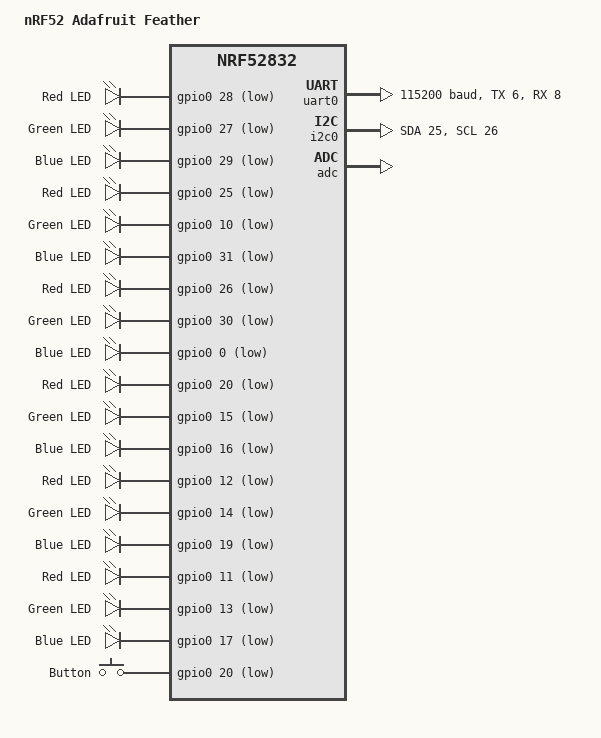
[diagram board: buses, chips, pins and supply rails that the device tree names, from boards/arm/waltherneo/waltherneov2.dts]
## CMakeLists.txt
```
# SPDX-License-Identifier: Apache-2.0

cmake_minimum_required(VERSION 3.13.1)

#find_package(Zephyr REQUIRED HINTS $ENV{ZEPHYR_BASE})

# Re-direct the directory where the 'boards' directory is found from
# $ZEPHYR_BASE to this directory.
set(BOARD_ROOT ${CMAKE_CURRENT_LIST_DIR})

# This sample is only compatible with walterneo because it has
# re-directed the 'boards' directory to a directory that only contains
# this board.
set(BOARD walterneo)

include($ENV{ZEPHYR_BASE}/cmake/app/boilerplate.cmake NO_POLICY_SCOPE)

project(mesh_demo)

FILE(GLOB app_sources src/*.c)
target_sources(app PRIVATE ${app_sources})
FILE(GLOB mesh_sources src/mesh/*.c)
target_sources(app PRIVATE ${mesh_sources})
FILE(GLOB misc_sources src/misc/*.c)
target_sources(app PRIVATE ${misc_sources})
FILE(GLOB sensor_sources src/sensor/*.c)
target_sources(app PRIVATE ${sensor_sources})

if(NODE_ADDR)
  zephyr_compile_definitions(NODE_ADDR=${NODE_ADDR})
endif()
```

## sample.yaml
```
sample:
  name: WaltherNeo Mesh
tests:
  sample.bluetooth.mesh_demo:
    harness: bluetooth
    platform_whitelist: bbc_microbit nrf51_blenano qemu_x86
    tags: bluetooth
```

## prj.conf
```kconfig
#CONFIG_INIT_STACKS=y
CONFIG_MAIN_STACK_SIZE=1024
CONFIG_SYSTEM_WORKQUEUE_STACK_SIZE=4096

CONFIG_BT_DEVICE_NAME="IPDNeo"

CONFIG_MCUMGR=y

CONFIG_BT_CTLR_TX_PWR_PLUS_4=y

CONFIG_NFCT_PINS_AS_GPIOS=y

# Enable the Bluetooth (unauthenticated) and UART mcumgr transports.
CONFIG_MCUMGR_SMP_BT=y
CONFIG_MCUMGR_SMP_BT_AUTHEN=n

#enable drivers - ADC req. to have dts support and IRQ callback
CONFIG_ADC=y
#do not activate or the ISR is double defined
CONFIG_ADC_NRFX_SAADC=n
CONFIG_TEMP_NRF5=y

#SAADC - timer triggered
CONFIG_NRFX_RTC2=y
CONFIG_NRFX_PPI=y

#add floating point support (for any thread)
CONFIG_FPU=y
CONFIG_FPU_SHARING=y
CONFIG_NEWLIB_LIBC=y
#CONFIG_NEWLIB_LIBC_FLOAT_PRINTF=y

#CONFIG_MPU_STACK_GUARD=y

CONFIG_BT_OBSERVER=y
CONFIG_BT_BROADCASTER=y
CONFIG_BT_CTLR_DUP_FILTER_LEN=0
CONFIG_BT_CTLR_LE_ENC=n
CONFIG_BT_CTLR_LE_PING=n
CONFIG_BT_DATA_LEN_UPDATE=n
CONFIG_BT_PHY_UPDATE=n
CONFIG_BT_CTLR_CHAN_SEL_2=n
CONFIG_BT_CTLR_MIN_USED_CHAN=n
CONFIG_BT_CTLR_ADV_EXT=n
CONFIG_BT_CTLR_PRIVACY=n
#CONFIG_BT_CTLR_TX_PWR_PLUS_8=y

CONFIG_BT_PERIPHERAL=y
CONFIG_BT=y
CONFIG_BT_TINYCRYPT_ECC=y
CONFIG_BT_RX_STACK_SIZE=4096
CONFIG_BT_L2CAP_RX_MTU=69
CONFIG_BT_L2CAP_TX_BUF_COUNT=8

# Allow for large Bluetooth data packets -> mcumgr
CONFIG_BT_L2CAP_TX_MTU=263
CONFIG_BT_RX_BUF_LEN=263

CONFIG_BT_MESH=y
CONFIG_BT_MESH_RELAY=y
CONFIG_BT_MESH_LOW_POWER=n
CONFIG_BT_MESH_FRIEND=n
CONFIG_BT_MESH_ADV_BUF_COUNT=60
CONFIG_BT_MESH_TX_SEG_MAX=6
CONFIG_BT_MESH_TX_SEG_MSG_COUNT=3
CONFIG_BT_MESH_RX_SEG_MSG_COUNT=3
CONFIG_BT_MESH_CRPL=128
CONFIG_BT_MESH_RPL_STORE_TIMEOUT=120
CONFIG_BT_MESH_MSG_CACHE_SIZE=100

CONFIG_BT_MESH_CFG_CLI=y

CONFIG_BT_MESH_PB_GATT=y
CONFIG_BT_MESH_PB_ADV=y
CONFIG_BT_MESH_GATT_PROXY=y

#CONFIG_BT_MESH_LPN_SCAN_LATENCY=30
#CONFIG_BT_MESH_LPN_RECV_DELAY=40
#CONFIG_BT_MESH_LPN_POLL_TIMEOUT=300

CONFIG_BT_MESH_SUBNET_COUNT=1
CONFIG_BT_MESH_APP_KEY_COUNT=1
CONFIG_BT_MESH_MODEL_GROUP_COUNT=2
CONFIG_BT_MESH_LABEL_COUNT=3

CONFIG_BT_SETTINGS=y
CONFIG_FLASH=y
CONFIG_FLASH_PAGE_LAYOUT=y
CONFIG_FLASH_MAP=y
CONFIG_NVS=y
CONFIG_SETTINGS=y
CONFIG_BT_MESH_RPL_STORE_TIMEOUT=600
#CONFIG_BT_DEBUG_LOG=y

#CONFIG_BT_MESH_DEBUG=y
#CONFIG_BT_MESH_DEBUG_PROV=y
#CONFIG_BT_MESH_DEBUG_PROXY=y
#CONFIG_BT_MESH_DEBUG_BEACON=y
#CONFIG_BT_MESH_DEBUG_SETTINGS=y
#CONFIG_BT_MESH_DEBUG_NET=y
#CONFIG_BT_MESH_DEBUG_TRANS=y
#CONFIG_BT_MESH_DEBUG_LOW_POWER=y
#CONFIG_BT_MESH_DEBUG_FRIEND=y
#CONFIG_BT_MESH_DEBUG_MODEL=y
#CONFIG_BT_MESH_DEBUG_ACCESS=y
#CONFIG_BT_MESH_DEBUG_CRYPTO=y
#CONFIG_BT_MESH_DEBUG_ADV=n
```

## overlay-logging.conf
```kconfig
CONFIG_ASSERT=y

CONFIG_BT_DEBUG_LOG=y

CONFIG_BT_MESH_DEBUG=y
CONFIG_BT_MESH_DEBUG_PROV=y
CONFIG_BT_MESH_DEBUG_PROXY=y
CONFIG_BT_MESH_DEBUG_BEACON=y
CONFIG_BT_MESH_DEBUG_SETTINGS=y
CONFIG_BT_MESH_DEBUG_NET=y
CONFIG_BT_MESH_DEBUG_TRANS=y
CONFIG_BT_MESH_DEBUG_LOW_POWER=y
CONFIG_BT_MESH_DEBUG_FRIEND=y
CONFIG_BT_MESH_DEBUG_MODEL=y
CONFIG_BT_MESH_DEBUG_ACCESS=y
CONFIG_BT_MESH_DEBUG_CRYPTO=y
CONFIG_BT_MESH_DEBUG_ADV=n
```

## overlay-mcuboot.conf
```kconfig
#build correct flash section
CONFIG_BOOTLOADER_MCUBOOT=y

#enable core commands
CONFIG_MCUMGR_CMD_IMG_MGMT=y
CONFIG_MCUMGR_CMD_OS_MGMT=y
```

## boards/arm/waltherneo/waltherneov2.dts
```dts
/*
 * Copyright (c) 2018 LEDCity AG
 * Copyright (c) 2017 Linaro Limited
 * Copyright (c) 2020 tecVenture
 *
 * SPDX-License-Identifier: Apache-2.0
 */

/dts-v1/;
#include <nordic/nrf52832_qfaa.dtsi>

/ {
	model = "nRF52 Adafruit Feather";
	compatible = "adafruit,nrf52_adafruit_feather";

	chosen {
		zephyr,console = &uart0;
		zephyr,shell-uart = &uart0;
		zephyr,uart-mcumgr = &uart0;
		zephyr,bt-mon-uart = &uart0;
		zephyr,bt-c2h-uart = &uart0;
		zephyr,sram = &sram0;
		zephyr,flash = &flash0;
		zephyr,code-partition = &slot0_partition;
	};

	/* These aliases are provided for compatibility with samples */
	aliases {
		led0 = &led_l1_r;
		led1 = &led_l2_g;
		ledl1r = &led_l1_r;
		ledl1g = &led_l1_g;
		ledl1b = &led_l1_b;
		ledl2r = &led_l2_r;
		ledl2g = &led_l2_g;
		ledl2b = &led_l2_b;
		ledl3r = &led_l3_r;
		ledl3g = &led_l3_g;
		ledl3b = &led_l3_b;
		lednr = &led_n_r;
		ledng = &led_n_g;
		lednb = &led_n_b;
		ledper = &led_pe_r;
		ledpeg = &led_pe_g;
		ledpeb = &led_pe_b;
		ledtempr = &led_temp_r;
		ledtempg = &led_temp_g;
		ledtempb = &led_temp_b;
		sw0 = &button0;
	};

	leds {
		compatible = "gpio-leds";
		led_l1_r: led_0 {
			gpios = <&gpio0 28 GPIO_ACTIVE_LOW>;
			label = "Red LED";
		};
		led_l1_g: led_1 {
			gpios = <&gpio0 27 GPIO_ACTIVE_LOW>;
			label = "Green LED";
		};
		led_l1_b: led_2 {
			gpios = <&gpio0 29 GPIO_ACTIVE_LOW>;
			label = "Blue LED";
		};
		led_l2_r: led_3 {
			gpios = <&gpio0 25 GPIO_ACTIVE_LOW>;
			label = "Red LED";
		};
		led_l2_g: led_4 {
			gpios = <&gpio0 10 GPIO_ACTIVE_LOW>;
			label = "Green LED";
		};
		led_l2_b: led_5 {
			gpios = <&gpio0 31 GPIO_ACTIVE_LOW>;
			label = "Blue LED";
		};
		led_l3_r: led_6 {
			gpios = <&gpio0 26 GPIO_ACTIVE_LOW>;
			label = "Red LED";
		};
		led_l3_g: led_7 {
			gpios = <&gpio0 30 GPIO_ACTIVE_LOW>;
			label = "Green LED";
		};
		led_l3_b: led_8 {
			gpios = <&gpio0 0 GPIO_ACTIVE_LOW>;
			label = "Blue LED";
		};
		led_n_r: led_9 {
			gpios = <&gpio0 20 GPIO_ACTIVE_LOW>;
			label = "Red LED";
		};
		led_n_g: led_10 {
			gpios = <&gpio0 15 GPIO_ACTIVE_LOW>;
			label = "Green LED";
		};
		led_n_b: led_11 {
			gpios = <&gpio0 16 GPIO_ACTIVE_LOW>;
			label = "Blue LED";
		};
		led_pe_r: led_12 {
			gpios = <&gpio0 12 GPIO_ACTIVE_LOW>;
			label = "Red LED";
		};
		led_pe_g: led_13 {
			gpios = <&gpio0 14 GPIO_ACTIVE_LOW>;
			label = "Green LED";
		};
		led_pe_b: led_14 {
			gpios = <&gpio0 19 GPIO_ACTIVE_LOW>;
			label = "Blue LED";
		};
		led_temp_r: led_15 {
			gpios = <&gpio0 11 GPIO_ACTIVE_LOW>;
			label = "Red LED";
		};
		led_temp_g: led_16 {
			gpios = <&gpio0 13 GPIO_ACTIVE_LOW>;
			label = "Green LED";
		};
		led_temp_b: led_17 {
			gpios = <&gpio0 17 GPIO_ACTIVE_LOW>;
			label = "Blue LED";
		};
	};

	buttons {
		compatible = "gpio-keys";
		button0: button_0 {
			gpios = <&gpio0 20 (GPIO_PULL_UP | GPIO_ACTIVE_LOW)>;
			label = "Button";
		};
	};
};

&gpiote {
	status = "okay";
};

&gpio0 {
	status = "okay";
};

&uart0 {
	compatible = "nordic,nrf-uart";
	current-speed = <115200>;
	status = "okay";
	tx-pin = <6>;
	rx-pin = <8>;
};

&i2c0 {
	compatible = "nordic,nrf-twi";
	sda-pin = <25>;
	scl-pin = <26>;
};

&adc { /* ADC */
	status = "okay";
};

&flash0 {
	/*
	 * For more information, see:
	 * http://docs.zephyrproject.org/latest/guides/dts/index.html#flash-partitions
	 */
	partitions {
		compatible = "fixed-partitions";
		#address-cells = <1>;
		#size-cells = <1>;

		boot_partition: partition@0 {
			label = "mcuboot";
			reg = <0x00000000 0xc000>;
		};
		slot0_partition: partition@c000 {
			label = "image-0";
			reg = <0x0000C000 0x32000>;
		};
		slot1_partition: partition@3e000 {
			label = "image-1";
			reg = <0x0003E000 0x32000>;
		};
		scratch_partition: partition@70000 {
			label = "image-scratch";
			reg = <0x00070000 0xa000>;
		};
		storage_partition: partition@7a000 {
			label = "storage";
			reg = <0x0007a000 0x00006000>;
		};
	};
};
```

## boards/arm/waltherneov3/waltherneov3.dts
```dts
/*
 * Copyright (c) 2018 LEDCity AG
 * Copyright (c) 2017 Linaro Limited
 * Copyright (c) 2020 tecVenture
 *
 * SPDX-License-Identifier: Apache-2.0
 */

/dts-v1/;
#include <nordic/nrf52832_qfaa.dtsi>

/ {
	model = "nRF52 Adafruit Feather";
	compatible = "adafruit,nrf52_adafruit_feather";

	chosen {
		zephyr,console = &uart0;
		zephyr,shell-uart = &uart0;
		zephyr,uart-mcumgr = &uart0;
		zephyr,bt-mon-uart = &uart0;
		zephyr,bt-c2h-uart = &uart0;
		zephyr,sram = &sram0;
		zephyr,flash = &flash0;
		zephyr,code-partition = &slot0_partition;
	};

	/* These aliases are provided for compatibility with samples */
	aliases {
		led0 = &led_l1_r;
		led1 = &led_l2_w;
		ledl1r = &led_l1_r;
		ledl1w = &led_l1_w;
		ledl2r = &led_l2_r;
		ledl2w = &led_l2_w;
		ledl3r = &led_l3_r;
		ledl3w = &led_l3_w;
		lednr = &led_n_r;
		lednw = &led_n_w;
		ledper = &led_pe_r;
		ledpeg = &led_pe_g;
		ledpeb = &led_pe_b;
		ledtempr = &led_temp_r;
		ledtempg = &led_temp_g;
		ledtempb = &led_temp_b;
		sw0 = &button0;
	};

	leds {
		compatible = "gpio-leds";
		led_l1_r: led_0 {
			gpios = <&gpio0 28 GPIO_ACTIVE_LOW>;
			label = "Red LED";
		};
		led_l1_w: led_1 {
			gpios = <&gpio0 27 GPIO_ACTIVE_LOW>;
			label = "White LED";
		};

		led_l2_r: led_2 {
			gpios = <&gpio0 25 GPIO_ACTIVE_LOW>;
			label = "Red LED";
		};
		led_l2_w: led_3 {
			gpios = <&gpio0 10 GPIO_ACTIVE_LOW>;
			label = "White LED";
		};
		
		led_l3_r: led_4 {
			gpios = <&gpio0 26 GPIO_ACTIVE_LOW>;
			label = "Red LED";
		};
		led_l3_w: led_5 {
			gpios = <&gpio0 30 GPIO_ACTIVE_LOW>;
			label = "White LED";
		};

		led_n_r: led_6 {
			gpios = <&gpio0 20 GPIO_ACTIVE_LOW>;
			label = "Red LED";
		};
		led_n_w: led_7 {
			gpios = <&gpio0 15 GPIO_ACTIVE_LOW>;
			label = "White LED";
		};

		led_pe_r: led_8 {
			gpios = <&gpio0 12 GPIO_ACTIVE_LOW>;
			label = "Red LED";
		};
		led_pe_g: led_9 {
			gpios = <&gpio0 14 GPIO_ACTIVE_LOW>;
			label = "Green LED";
		};
		led_pe_b: led_10 {
			gpios = <&gpio0 19 GPIO_ACTIVE_LOW>;
			label = "Blue LED";
		};
		
		led_temp_r: led_11 {
			gpios = <&gpio0 11 GPIO_ACTIVE_LOW>;
			label = "Red LED";
		};
		led_temp_g: led_12 {
			gpios = <&gpio0 13 GPIO_ACTIVE_LOW>;
			label = "Green LED";
		};
		led_temp_b: led_13 {
			gpios = <&gpio0 17 GPIO_ACTIVE_LOW>;
			label = "Blue LED";
		};
	};

	buttons {
		compatible = "gpio-keys";
		button0: button_0 {
			gpios = <&gpio0 20 (GPIO_PULL_UP | GPIO_ACTIVE_LOW)>;
			label = "Button";
		};
	};
};

&gpiote {
	status = "okay";
};

&gpio0 {
	status = "okay";
};

&uart0 {
	compatible = "nordic,nrf-uart";
	current-speed = <115200>;
	status = "okay";
	tx-pin = <6>;
	rx-pin = <8>;
};

&i2c0 {
	compatible = "nordic,nrf-twi";
	sda-pin = <25>;
	scl-pin = <26>;
};

&adc { /* ADC */
	status = "okay";
};

&flash0 {
	/*
	 * For more information, see:
	 * http://docs.zephyrproject.org/latest/guides/dts/index.html#flash-partitions
	 */
	partitions {
		compatible = "fixed-partitions";
		#address-cells = <1>;
		#size-cells = <1>;

		boot_partition: partition@0 {
			label = "mcuboot";
			reg = <0x00000000 0xc000>;
		};
		slot0_partition: partition@c000 {
			label = "image-0";
			reg = <0x0000C000 0x32000>;
		};
		slot1_partition: partition@3e000 {
			label = "image-1";
			reg = <0x0003E000 0x32000>;
		};
		scratch_partition: partition@70000 {
			label = "image-scratch";
			reg = <0x00070000 0xa000>;
		};
		storage_partition: partition@7a000 {
			label = "storage";
			reg = <0x0007a000 0x00006000>;
		};
	};
};
```

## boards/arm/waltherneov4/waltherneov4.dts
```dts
/*
 * Copyright (c) 2018 LEDCity AG
 * Copyright (c) 2017 Linaro Limited
 * Copyright (c) 2020 tecVenture
 *
 * SPDX-License-Identifier: Apache-2.0
 */

/dts-v1/;
#include <nordic/nrf52832_qfaa.dtsi>

/ {
	model = "nRF52 Adafruit Feather";
	compatible = "adafruit,nrf52_adafruit_feather";

	chosen {
		zephyr,console = &uart0;
		zephyr,shell-uart = &uart0;
		zephyr,uart-mcumgr = &uart0;
		zephyr,bt-mon-uart = &uart0;
		zephyr,bt-c2h-uart = &uart0;
		zephyr,sram = &sram0;
		zephyr,flash = &flash0;
		zephyr,code-partition = &slot0_partition;
	};

	/* These aliases are provided for compatibility with samples */
	aliases {
		led0 = &led_l1_r;
		led1 = &led_l2_w;
		ledl1r = &led_l1_r;
		ledl1w = &led_l1_w;
		ledl2r = &led_l2_r;
		ledl2w = &led_l2_w;
		ledl3r = &led_l3_r;
		ledl3w = &led_l3_w;
		lednr = &led_n_r;
		lednw = &led_n_w;
		ledper = &led_pe_r;
		ledpeg = &led_pe_g;
		ledpeb = &led_pe_b;
		ledtempr = &led_temp_r;
		ledtempg = &led_temp_g;
		ledtempb = &led_temp_b;
		sw0 = &button0;
	};

	leds {
		compatible = "gpio-leds";
		led_l1_r: led_0 {
			gpios = <&gpio0 29 GPIO_ACTIVE_LOW>;
			label = "Red LED";
		};
		led_l1_w: led_1 {
			gpios = <&gpio0 27 GPIO_ACTIVE_LOW>;
			label = "White LED";
		};

		led_l2_r: led_2 {
			gpios = <&gpio0 11 GPIO_ACTIVE_LOW>;
			label = "Red LED";
		};
		led_l2_w: led_3 {
			gpios = <&gpio0 10 GPIO_ACTIVE_LOW>;
			label = "White LED";
		};
		
		led_l3_r: led_4 {
			gpios = <&gpio0 22 GPIO_ACTIVE_LOW>;
			label = "Red LED";
		};
		led_l3_w: led_5 {
			gpios = <&gpio0 23 GPIO_ACTIVE_LOW>;
			label = "White LED";
		};

		led_n_r: led_6 {
			gpios = <&gpio0 20 GPIO_ACTIVE_LOW>;
			label = "Red LED";
		};
		led_n_w: led_7 {
			gpios = <&gpio0 19 GPIO_ACTIVE_LOW>;
			label = "White LED";
		};

		led_pe_r: led_8 {
			gpios = <&gpio0 16 GPIO_ACTIVE_LOW>;
			label = "Red LED";
		};
		led_pe_g: led_9 {
			gpios = <&gpio0 15 GPIO_ACTIVE_LOW>;
			label = "Green LED";
		};
		led_pe_b: led_10 {
			gpios = <&gpio0 17 GPIO_ACTIVE_LOW>;
			label = "Blue LED";
		};
		
		led_temp_r: led_11 {
			gpios = <&gpio0 13 GPIO_ACTIVE_LOW>;
			label = "Red LED";
		};
		led_temp_g: led_12 {
			gpios = <&gpio0 14 GPIO_ACTIVE_LOW>;
			label = "Green LED";
		};
		led_temp_b: led_13 {
			gpios = <&gpio0 12 GPIO_ACTIVE_LOW>;
			label = "Blue LED";
		};
	};

	buttons {
		compatible = "gpio-keys";
		button0: button_0 {
			gpios = <&gpio0 20 (GPIO_PULL_UP | GPIO_ACTIVE_LOW)>;
			label = "Button";
		};
	};
};

&gpiote {
	status = "okay";
};

&gpio0 {
	status = "okay";
};

&uart0 {
	compatible = "nordic,nrf-uart";
	current-speed = <115200>;
	status = "okay";
	tx-pin = <6>;
	rx-pin = <8>;
};

&i2c0 {
	compatible = "nordic,nrf-twi";
	sda-pin = <25>;
	scl-pin = <26>;
};

&adc { /* ADC */
	status = "okay";
};

&flash0 {
	/*
	 * For more information, see:
	 * http://docs.zephyrproject.org/latest/guides/dts/index.html#flash-partitions
	 */
	partitions {
		compatible = "fixed-partitions";
		#address-cells = <1>;
		#size-cells = <1>;

		boot_partition: partition@0 {
			label = "mcuboot";
			reg = <0x00000000 0xc000>;
		};
		slot0_partition: partition@c000 {
			label = "image-0";
			reg = <0x0000C000 0x32000>;
		};
		slot1_partition: partition@3e000 {
			label = "image-1";
			reg = <0x0003E000 0x32000>;
		};
		scratch_partition: partition@70000 {
			label = "image-scratch";
			reg = <0x00070000 0xa000>;
		};
		storage_partition: partition@7a000 {
			label = "storage";
			reg = <0x0007a000 0x00006000>;
		};
	};
};
```

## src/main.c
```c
/* main.c - IPDNeo Application */

/*
 * Copyright (c) 2020 tecVenture
 *
 */

#include <sys/printk.h>

#include <settings/settings.h>

#include <bluetooth/bluetooth.h>
#include <bluetooth/conn.h>
#include <bluetooth/l2cap.h>
#include <bluetooth/hci.h>
#include <bluetooth/mesh.h>

#include "mesh/ble_mesh.h"

#include "board.h"

#include "sensor/adc.h"
#include "sensor/temp.h"
#include "misc/storage.h"
#include "misc/meshreset.h"
#include "user_led.h"
#include "phase_calc.h"
#include "mesh/device_composition.h"

#include <nrfx_rtc.h>
#include <nrfx_timer.h>

#if defined(CONFIG_MCUMGR)
#include <mgmt/smp_bt.h>
#include "misc/smp_svr.h"
#endif


#define FILTER_CYCLES		14UL
#define FILTER_THRESHOLD	(FILTER_CYCLES / 2)


void display_status(float temp_value_f)
{
    static uint8_t temp_critical_reached = 0;
    
    static uint16_t bitmask_filtered = 0;
    static uint16_t bitmaskfilter[FILTER_CYCLES] = { 0 };
    static uint8_t	bitmaskcnt[16] = { 0 };
    static int bitmaskfilter_index = 0;
    
    static int first_time_shot = 1; //boot without bitfilter delay

    int8_t temp_value = (int8_t)(temp_value_f + 0.5f);
    uint32_t phase_voltage[4] = //{ 0 };
                                { 
                                (uint32_t)phase_calculator_get_value(0),
                                (uint32_t)phase_calculator_get_value(1),
                                (uint32_t)phase_calculator_get_value(2),
                                (uint32_t)phase_calculator_get_value(3),
                                };


    uint16_t bitmask = (phase_present[0] < 10) ? USER_LED_LOST_L1_BIT : USER_LED_LOST_NONE;
    bitmask |= (phase_present[1] < 10) ? USER_LED_LOST_L2_BIT : USER_LED_LOST_NONE;
    bitmask |= (phase_present[2] < 10) ? USER_LED_LOST_L3_BIT : USER_LED_LOST_NONE;

    bitmask |= (phase_present[0] < 10 && phase_present[0] > 0) ? USER_LED_UNKNOWN_L1_BIT : USER_LED_LOST_NONE;
    bitmask |= (phase_present[1] < 10 && phase_present[1] > 0) ? USER_LED_UNKNOWN_L2_BIT : USER_LED_LOST_NONE;
    bitmask |= (phase_present[2] < 10 && phase_present[2] > 0) ? USER_LED_UNKNOWN_L3_BIT : USER_LED_LOST_NONE;

    bitmask |= (n_present < 10) ? USER_LED_LOST_N_BIT : USER_LED_LOST_NONE;
    bitmask |= (n_present < 10 && n_present > 0) ? USER_LED_UNKNOWN_N_BIT : USER_LED_LOST_NONE;
    
    bitmask |= pe_present ? USER_LED_LOST_NONE : USER_LED_LOST_PE_BIT;

    //temperature with 3 K hysteresis
    if(temp_value < 57)
        temp_critical_reached = 0;
    if(temp_value > 60 || temp_critical_reached)
    {
        bitmask |= USER_LED_LOST_TEMP_BIT;
        temp_critical_reached = 1;
    }

    char rot = rotation_phase_get();
    
    if(bitmask == 0)
    {
		bitmask |= (rot == 'R') ? USER_LED_DIR_R_BIT : 0;
		bitmask |= (rot == 'L') ? USER_LED_DIR_L_BIT : 0;
	}	
	
	bitmaskfilter[bitmaskfilter_index] = bitmask;
	bitmaskfilter_index++;
	

	if(bitmaskfilter_index >= FILTER_CYCLES)
	{
		bitmaskfilter_index = 0;
		bitmask_filtered = 0;
		
		memset(bitmaskcnt, 0, sizeof(bitmaskcnt));
		
		for(int i = 0; i < FILTER_CYCLES; i++)
		{
			//process all 16 bits
			for(int bitcnt = 0; bitcnt < sizeof(bitmaskcnt)/sizeof(bitmaskcnt[0]); bitcnt++)
			{
				if(bitmaskfilter[i] & (1UL << bitcnt))
					bitmaskcnt[bitcnt]++;
			}
		}
		//process no roation direction is compares the resulting counters
		for(int bitcnt = 0; bitcnt < USER_LED_DIR_R_BITPOS; bitcnt++)
		{
			if(bitmaskcnt[bitcnt] > FILTER_THRESHOLD)
			{
				bitmask_filtered |= (1UL << bitcnt);
			}			
		}
		
		//set rotation bit if no error is happen, else roation bits are zero
		if(bitmask_filtered == 0)
		{
			if(bitmaskcnt[USER_LED_DIR_R_BITPOS] >= bitmaskcnt[USER_LED_DIR_L_BITPOS])
				bitmask_filtered |= USER_LED_DIR_R_BIT;
			else
				bitmask_filtered |= USER_LED_DIR_L_BIT;
		}
		
		
		first_time_shot = 0;
	}
	
	if(first_time_shot)
		bitmask_filtered = bitmask;
    
    if(onoff != -1)
		return;

    user_led_set_state( ((bitmask_filtered & USER_LED_DIR_R_BIT) ? USER_LED_STATE_ROT_R : ((bitmask_filtered & USER_LED_DIR_L_BIT) ? USER_LED_STATE_ROT_L : USER_LED_STATE_LOST)), bitmask_filtered);

	refresh_sensordata(bitmask_filtered, phase_voltage[0], phase_voltage[1], phase_voltage[2], phase_voltage[3]);
	refresh_statusdata(temp_value);

#if DEBUG_PRINT_ADC_VALUES
    for(int i = 0; i < FILTERCHAN_NUM_OF; i++)
		printk("%d,", (int)(result_vector[i] * 100.0f));
	printk("%d,", (int)pe_filtered);
	printk("0x%04X,", (int)bitmask);
	printk("0x%04X", (int)bitmask_filtered);
	printk("\n");
#endif
}

void main(void)
{
	int err;

	printk("Initializing...\n");
	
	storage_init();


#if defined(CONFIG_MCUMGR)
	smp_svr_init();
#endif

	// Initialize the Bluetooth Subsystem
	err = bt_enable(NULL);
	if (err) {
		printk("Bluetooth init failed (err %d)\n", err);
	}
	//bt setup in sync (mesh reset works without delay hack)
	bt_ready(err);
	
	user_led_init();
	
#if defined(CONFIG_MCUMGR)
	/* Initialize the Bluetooth mcumgr transport. */
	smp_bt_register();
#endif

	meshreset_boothook();
	
	temp_init();
	
	//wait for LED init sequence
	k_msleep(4000);

	while (1) {
		/*
		printk("k: %d", (int)sqrtf(f+1.1f));
		f *= 10.1f;
		k_msleep(1000);
		*/
		//printk("Data");
		//k_msleep(1000);
		int16_t *data = adc_start_measure();
		if(data == NULL)
			continue;
		//printk(":");
		phase_check_adc_buffer((int16_t(*)[ADC_WIRE_NUMOF])data);
		
		//printk("!");
		display_status(temp_read());
		//for(int i = 0; i < 252 * 4; i+=4)
		//	printk("%d,%d,%d,%d\n", data[i+0], data[i+1], data[i+2], data[i+3]);
	}

}
```

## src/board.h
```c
/* board.h - Board-specific hooks */

/*
 * Copyright (c) 2020 tecVenture
 *
 */
 
#if defined(CONFIG_BOARD_WALTHERNEOV2)

#define EXT_LED_L1_R_GPIO_PIN     28   /*  */
#define EXT_LED_L1_G_GPIO_PIN     27   /*  */
#define EXT_LED_L1_B_GPIO_PIN     29   /*  */
#define EXT_LED_L2_R_GPIO_PIN     25   /*  */
#define EXT_LED_L2_G_GPIO_PIN     10   /*  */
#define EXT_LED_L2_B_GPIO_PIN     31   /*  */
#define EXT_LED_L3_R_GPIO_PIN     26   /*  */
#define EXT_LED_L3_G_GPIO_PIN     30   /*  */
#define EXT_LED_L3_B_GPIO_PIN     0   /*  */
#define EXT_LED_N_R_GPIO_PIN      20   /*  */
#define EXT_LED_N_G_GPIO_PIN      15   /*  */
#define EXT_LED_N_B_GPIO_PIN      16   /*  */
#define EXT_LED_PE_R_GPIO_PIN     12   /*  */
#define EXT_LED_PE_G_GPIO_PIN     14   /*  */
#define EXT_LED_PE_B_GPIO_PIN     19   /*  */
#define EXT_LED_TEMP_R_GPIO_PIN   11   /*  */
#define EXT_LED_TEMP_G_GPIO_PIN   13   /*  */
#define EXT_LED_TEMP_B_GPIO_PIN   17   /*  */

#elif defined(CONFIG_BOARD_WALTHERNEOV3)

#define EXT_LED_L1_R_GPIO_PIN     29   /*  */
#define EXT_LED_L1_W_GPIO_PIN     28   /*  */
#define EXT_LED_L2_R_GPIO_PIN     11   /*  */
#define EXT_LED_L2_W_GPIO_PIN     10   /*  */
#define EXT_LED_L3_R_GPIO_PIN     26   /*  */
#define EXT_LED_L3_W_GPIO_PIN     25   /*  */
#define EXT_LED_N_R_GPIO_PIN      20   /*  */
#define EXT_LED_N_W_GPIO_PIN      19   /*  */
#define EXT_LED_PE_R_GPIO_PIN     16   /*  */
#define EXT_LED_PE_G_GPIO_PIN     15   /*  */
#define EXT_LED_PE_B_GPIO_PIN     17   /*  */
#define EXT_LED_TEMP_R_GPIO_PIN   13   /*  */
#define EXT_LED_TEMP_G_GPIO_PIN   14   /*  */
#define EXT_LED_TEMP_B_GPIO_PIN   12   /*  */

#elif defined(CONFIG_BOARD_WALTHERNEOV4)

#define EXT_LED_L1_R_GPIO_PIN     29   /*  */
#define EXT_LED_L1_W_GPIO_PIN     27   /*  */
#define EXT_LED_L2_R_GPIO_PIN     11   /*  */
#define EXT_LED_L2_W_GPIO_PIN     10   /*  */
#define EXT_LED_L3_R_GPIO_PIN     22   /*  */
#define EXT_LED_L3_W_GPIO_PIN     23   /*  */
#define EXT_LED_N_R_GPIO_PIN      20   /*  */
#define EXT_LED_N_W_GPIO_PIN      19   /*  */
#define EXT_LED_PE_R_GPIO_PIN     16   /*  */
#define EXT_LED_PE_G_GPIO_PIN     15   /*  */
#define EXT_LED_PE_B_GPIO_PIN     17   /*  */
#define EXT_LED_TEMP_R_GPIO_PIN   13   /*  */
#define EXT_LED_TEMP_G_GPIO_PIN   14   /*  */
#define EXT_LED_TEMP_B_GPIO_PIN   12   /*  */

#else
#error "No Board selected"
#endif


#define WALTHER_PRODUCT_ID			0x0001
#define WALTHER_VERSION_ID			0x0003
```

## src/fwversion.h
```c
#define CURRENT_FIMRWARE_VERSION1 0
#define CURRENT_FIMRWARE_VERSION2 0
#define CURRENT_FIMRWARE_VERSION3 8
#define CURRENT_FIMRWARE_VERSION4 0
```

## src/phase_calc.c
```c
#include <stdint.h>
#include <stdlib.h>
#include <math.h>
#include "nrf.h"
#include "user_led.h"
#include "phase_calc.h"
#include "misc/filter.h"

#define PHASE_CALC_TIMEOUT_ZEROC    (int)(2000 / 50 * 2) //2000 Hz Sample Clock / 50 Hz * 2 (2x Reserve)
#define MIDVOLTAGE_OFFSET           2040

#define ADC_SAMPLE_COUNT            ADC_SAMPLES_PER_MEAS

int16_t adc_double_buffer[2][ADC_WIRE_NUMOF][ADC_SAMPLE_COUNT]; // 4 or 5 adc meas over 100 ms
int16_t (*adc_double_buffer_p)[ADC_SAMPLE_COUNT] = adc_double_buffer[0]; 
int16_t (*adc_buffer_ready)[ADC_SAMPLE_COUNT] = NULL;

static uint16_t           rms_values[FILTERCHAN_NUM_OF];
float					  result_vector[FILTERCHAN_NUM_OF];
static int16_t			  avr_value_pe = 0;
float 					  pe_filtered = 0.0f;
int                       phase_present[3] = { 0 };
int                       n_present = 0;
int						  pe_present = 0;
int16_t                   max_n;
int16_t                   min_n;

RunAVRFilter_t			  pe_filter = { 0.0f, 4, 0, 0.0f };

typedef struct
{
    int8_t            threshold_ff_zc; //check if rising or falling wave detection is active -> -1 falling detected, +1 rising

    uint32_t          timeout;
    const int16_t     threshold_zerocross; //set range 
} Phase_Options_t;


static Phase_Options_t phases[3] = 
{
    {
        .threshold_ff_zc = 1,
        .timeout = 0,
        .threshold_zerocross = 100,
    },
    {
        .threshold_ff_zc = 1,
        .timeout = 0,
        .threshold_zerocross = 100,
    },
    {
        .threshold_ff_zc = 1,
        .timeout = 0,
        .threshold_zerocross = 100,
    },
};

static float avr_values[FILTERCHAN_NUM_OF];

static float scale_values = 0.42f;

static char phase_rotation_direction = 'X';

static void     	rotation_direction_add_trigger(uint8_t phase, uint8_t timeout);
static void     	phase_decisiontree(void);
static void 		phase_check_direction(int16_t buffer[ADC_SAMPLE_COUNT][ADC_WIRE_NUMOF]);
static uint16_t 	phase_rms_calulation(int16_t buffer[ADC_SAMPLE_COUNT][ADC_WIRE_NUMOF], int index, int substractor_index, int16_t substractor_fixed);
static int16_t 		phase_avr_calulation(int16_t adc_values[ADC_SAMPLE_COUNT][ADC_WIRE_NUMOF], int index);

static void phase_check_direction(int16_t buffer[ADC_SAMPLE_COUNT][ADC_WIRE_NUMOF])
{
	phases[0].timeout = 0;
	phases[1].timeout = 0;
	phases[2].timeout = 0;
	
	for(int i = 0; i < ADC_SAMPLE_COUNT; i++)
	{
		for(int phase_i = 0; phase_i < 3; phase_i++)
		{
			int16_t phase_values[3] = { buffer[i][ADC_WIRE_L1] - buffer[i][ADC_WIRE_N], buffer[i][ADC_WIRE_L2] - buffer[i][ADC_WIRE_N], buffer[i][ADC_WIRE_L3] - buffer[i][ADC_WIRE_N] };
			if( (phases[phase_i].threshold_ff_zc == -1) && (phase_values[phase_i] >= phases[phase_i].threshold_zerocross) )
			{
				phases[phase_i].threshold_ff_zc = 1;
				
				rotation_direction_add_trigger(phase_i, 0);
			}
			else if( (phases[phase_i].threshold_ff_zc == 1) && (phase_values[phase_i] <= -phases[phase_i].threshold_zerocross) )
			{
				phases[phase_i].threshold_ff_zc = -1;
			}

			if(phases[phase_i].timeout > PHASE_CALC_TIMEOUT_ZEROC)
			{
				rotation_direction_add_trigger(phase_i, 1);
			}
		}
	}
}

void phase_check_adc_buffer(int16_t buffer[ADC_SAMPLE_COUNT][ADC_WIRE_NUMOF])
{
    if(buffer != NULL)
    {
        rms_values[FILTERCHAN_L1] = 	phase_rms_calulation(buffer, ADC_WIRE_L1, -1, MIDVOLTAGE_OFFSET);
        rms_values[FILTERCHAN_L2] = 	phase_rms_calulation(buffer, ADC_WIRE_L2, -1, MIDVOLTAGE_OFFSET);
        rms_values[FILTERCHAN_L3] = 	phase_rms_calulation(buffer, ADC_WIRE_L3, -1, MIDVOLTAGE_OFFSET);
        rms_values[FILTERCHAN_N] = 		phase_rms_calulation(buffer, ADC_WIRE_N, -1, MIDVOLTAGE_OFFSET);
        rms_values[FILTERCHAN_L1_N] = 	phase_rms_calulation(buffer, ADC_WIRE_L1, ADC_WIRE_N, 0);
        rms_values[FILTERCHAN_L2_N] = 	phase_rms_calulation(buffer, ADC_WIRE_L2, ADC_WIRE_N, 0);
        rms_values[FILTERCHAN_L3_N] = 	phase_rms_calulation(buffer, ADC_WIRE_L3, ADC_WIRE_N, 0);
        rms_values[FILTERCHAN_L1_L2] = 	phase_rms_calulation(buffer, ADC_WIRE_L1, ADC_WIRE_L2, 0);
        rms_values[FILTERCHAN_L1_L3] = 	phase_rms_calulation(buffer, ADC_WIRE_L1, ADC_WIRE_L3, 0);
        rms_values[FILTERCHAN_L3_L2] = 	phase_rms_calulation(buffer, ADC_WIRE_L3, ADC_WIRE_L2, 0);
#if defined(CONFIG_BOARD_WALTHERNEOV3) || defined(CONFIG_BOARD_WALTHERNEOV4)
        avr_value_pe = 					phase_avr_calulation(buffer, ADC_WIRE_PE);
#endif


		//get min sample of n channel
        min_n = INT16_MAX;
        for(int i = 0; i < ADC_SAMPLE_COUNT; i++)
        {
            if(min_n > buffer[i][ADC_WIRE_N])
                min_n = buffer[i][ADC_WIRE_N];
        }
        min_n -= MIDVOLTAGE_OFFSET;
        
        avr_values[FILTERCHAN_L1] = 	(float)rms_values[FILTERCHAN_L1_N] * scale_values;
        avr_values[FILTERCHAN_L2] = 	(float)rms_values[FILTERCHAN_L2_N] * scale_values;
        avr_values[FILTERCHAN_L3] = 	(float)rms_values[FILTERCHAN_L3_N] * scale_values;
        avr_values[FILTERCHAN_N] = 		(float)rms_values[FILTERCHAN_N];

        phase_decisiontree();
        
        phase_check_direction(buffer);
    }
}

static int16_t phase_avr_calulation(int16_t adc_values[ADC_SAMPLE_COUNT][ADC_WIRE_NUMOF], int index)
{
	int32_t sum = 0;
	
	for(int i = 0; i < ADC_SAMPLE_COUNT; i++)
		sum += adc_values[i][index];
		
    return (int16_t)((float)sum / ADC_SAMPLE_COUNT);
}

static uint16_t phase_rms_calulation(int16_t adc_values[ADC_SAMPLE_COUNT][ADC_WIRE_NUMOF], int index, int substractor_index, int16_t substractor_fixed)
{
    uint32_t sum = 0;
    if(substractor_fixed != 0 || substractor_index < 0)
    {
        for(int i = 0; i < ADC_SAMPLE_COUNT; i++)
            sum += (adc_values[i][index] - substractor_fixed) * (adc_values[i][index] - substractor_fixed);
    }
    else
    {
        for(int i = 0; i < ADC_SAMPLE_COUNT; i++)
            sum += (adc_values[i][index] - adc_values[i][substractor_index]) * (adc_values[i][index] - adc_values[i][substractor_index]);
    }

    //use floating point unit for sqrt function (round)
    return (uint16_t)(sqrtf((float)sum / ADC_SAMPLE_COUNT) + 0.5f);
}

static void phase_decisiontree(void)
{
	//get phase (no n compensation) maximum
    uint16_t max_phase = rms_values[FILTERCHAN_L1];
    if(max_phase < rms_values[FILTERCHAN_L2])
        max_phase = rms_values[FILTERCHAN_L2];
    if(max_phase < rms_values[FILTERCHAN_L3])
        max_phase = rms_values[FILTERCHAN_L3];

	//TODO: deceide from a scaled rms value here?
    if(max_phase < 100)
    {
        phase_present[0] = 0;
        phase_present[1] = 0;
        phase_present[2] = 0;
        n_present = 0;
        pe_present = 0;
        return;
    }

	//scale all channels with max phase -> works also for 110 V AC grid
    for(int i = 0; i < FILTERCHAN_NUM_OF; i++)
        result_vector[i] = (float)rms_values[i] / max_phase;

	//check each phase if present
    int second_block[3] = { 7, 7, 8 };
    int third_block[3] = { 8, 9, 9 };
    for(int i = 0; i < 3; i++)
    {
        if(result_vector[0 + i] <= 0.4f)
            phase_present[i] = -1;
        else
        {
            if(result_vector[second_block[i]] <= 0.5f)
                phase_present[i] = 2;
            else
            {
                if(result_vector[third_block[i]] <= 0.5f)
                {
                    phase_present[i] = 3;
                }
                else
                {
                    if(result_vector[FILTERCHAN_L1_N + i] <= 0.5f)
                    {
                        phase_present[i] = 4;
                    }
                    else
                    {
                        if(result_vector[0 + i] <= 0.85f)
                            phase_present[i] = 5;
                        else
                            phase_present[i] = 10;
                    }
                }
            }
        }
    }

	// check if N present
    float n_min_f = (float)min_n / max_phase;

    if(n_min_f <= 0.2f)
    {
        if(result_vector[3] <= 0.4f)
            n_present = -1;
        else
        {
            if(result_vector[4] <= 0.5f)
                n_present = 1;
            else
            {
                if(result_vector[5] <= 0.5f)
                    n_present = 2;
                else
                {
                    if(result_vector[6] <= 0.5f)
                        n_present = 3;
                    else
                    {
                        if(result_vector[3] <= 0.95f)
                            n_present = 4;
                        else
                            n_present = 10;
                     }
                }
            }
        }
    }
    else
        n_present = 11;
        
#if defined(CONFIG_BOARD_WALTHERNEOV3) || defined(CONFIG_BOARD_WALTHERNEOV4)
    pe_filtered = runavrfilter(&pe_filter, (float)avr_value_pe);
    if(pe_filtered > 20.0f)
		pe_present = 1;
	else
		pe_present = 0;
#endif
}

float phase_calculator_get_value(uint8_t channel)
{
    return avr_values[channel];
}

char rotation_phase_get(void)
{
    return phase_rotation_direction;
}

static void rotation_direction_add_trigger(uint8_t phase, uint8_t timeout)
{
    /*
    Pos1  Pos2	Pos3	
    L1    L2	L3	R
    L1    L3	L2	L
    L2    L3	L1	R
    L2    L1	L3	L
    L3    L1	L2	R
    L3    L2	L1	L
    */
    static const uint8_t lookup_table_R[3] = { 0x39, 0x1E, 0x27 };
    static const uint8_t lookup_table_L[3] = { 0x2D, 0x36, 0x1B };

    static uint8_t order = 0;
    static uint8_t order_pos = 0;
        
    if(!timeout)
    {
        order |= ((phase + 1) & 0x03) << (order_pos * 2);
        phases[phase].timeout = 0;
    }

    order_pos++;
    if(order_pos >= 3)
    {
        //lookup table search for phase direction
        char phase_dir = 'X';
        for(int i = 0; i < 3; i++)
        {
            if(order == lookup_table_R[i])
            {
                phase_dir = 'R';
                //user_led_set_color(USER_LED_PE, USER_LED_COLOR_RED); //debug test
                break;
            }
            else if(order == lookup_table_L[i])
            {
                phase_dir = 'L';
                //user_led_set_color(USER_LED_PE, USER_LED_COLOR_WHITE); //debug test
                break;
            }
        }

        //debug test
        //if(phase_dir == 'X')
        //    user_led_set_color(USER_LED_PE, USER_LED_COLOR_NONE);

        //reset and restart phase rotation
        order_pos = 0;
        order = 0;

        //set new information about the phase 
        //TODO: filter?
        phase_rotation_direction = phase_dir;
    }
}
```

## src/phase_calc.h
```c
#ifndef PHASE_CALC_H_
#define PHASE_CALC_H_

#include <stdint.h>
#include "sensor/adc.h"

enum avrfilter_channels_e
{
    FILTERCHAN_L1     = 0,
    FILTERCHAN_L2,
    FILTERCHAN_L3,
    FILTERCHAN_N,
    FILTERCHAN_L1_N,
    FILTERCHAN_L2_N,
    FILTERCHAN_L3_N,
    FILTERCHAN_L1_L2,
    FILTERCHAN_L1_L3,
    FILTERCHAN_L3_L2,
    FILTERCHAN_NUM_OF,
};

extern int				phase_present[3];
extern int				n_present;
extern int				pe_present;
extern float			pe_filtered;
extern int16_t			max_n;
extern int16_t			min_n;
extern float			result_vector[FILTERCHAN_NUM_OF];

void	phase_calculator_init(float scaler);
void	phase_check_adc_buffer(int16_t buffer[ADC_SAMPLES_PER_MEAS][ADC_WIRE_NUMOF]);
void	phase_calculator_add_adc_values(int16_t adc_value_L1, int16_t adc_value_L2, int16_t adc_value_L3, int16_t adc_value_N);
float	phase_calculator_get_value(uint8_t channel);
char	rotation_phase_get(void);

#endif /* PHASE_CALC_H_ */
```

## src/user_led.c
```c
/* user_led.c - handle user interface - LEDs */

/*
 * Copyright (c) 2020 tecVenture
 *
 */

#include <string.h>
#include <zephyr.h>
#include <device.h>
#include <devicetree.h>
#include <drivers/gpio.h>
#include <drivers/adc.h>
#include <hal/nrf_saadc.h>
#include <sys/printk.h>

#include "board.h"
#include "user_led.h"

struct led_s
{
	const enum user_led_type_e	type;
	const uint8_t 				pins[3];
};

#if defined(CONFIG_BOARD_WALTHERNEOV2)
const struct led_s leds[USER_LED_NUM_OF] = 
{
	[USER_LED_L1] = { USER_LED_TYPE_RGB, {EXT_LED_L1_R_GPIO_PIN, EXT_LED_L1_G_GPIO_PIN, EXT_LED_L1_B_GPIO_PIN } },
	[USER_LED_L2] = { USER_LED_TYPE_RGB, {EXT_LED_L2_R_GPIO_PIN, EXT_LED_L2_G_GPIO_PIN, EXT_LED_L2_B_GPIO_PIN } },
	[USER_LED_L3] = { USER_LED_TYPE_RGB, {EXT_LED_L3_R_GPIO_PIN, EXT_LED_L3_G_GPIO_PIN, EXT_LED_L3_B_GPIO_PIN } },
	[USER_LED_N] = { USER_LED_TYPE_RGB, {EXT_LED_N_R_GPIO_PIN, EXT_LED_N_G_GPIO_PIN, EXT_LED_N_B_GPIO_PIN } },
	[USER_LED_PE] = { USER_LED_TYPE_RGB, {EXT_LED_PE_R_GPIO_PIN, EXT_LED_PE_G_GPIO_PIN, EXT_LED_PE_B_GPIO_PIN } },
	[USER_LED_TEMP] = { USER_LED_TYPE_RGB, {EXT_LED_TEMP_R_GPIO_PIN, EXT_LED_TEMP_G_GPIO_PIN, EXT_LED_TEMP_B_GPIO_PIN } },
};
#elif defined(CONFIG_BOARD_WALTHERNEOV3) || defined(CONFIG_BOARD_WALTHERNEOV4)
const struct led_s leds[USER_LED_NUM_OF] = 
{
	[USER_LED_L1] = { USER_LED_TYPE_RW, {EXT_LED_L1_R_GPIO_PIN, EXT_LED_L1_W_GPIO_PIN, 0xFF } },
	[USER_LED_L2] = { USER_LED_TYPE_RW, {EXT_LED_L2_R_GPIO_PIN, EXT_LED_L2_W_GPIO_PIN, 0xFF } },
	[USER_LED_L3] = { USER_LED_TYPE_RW, {EXT_LED_L3_R_GPIO_PIN, EXT_LED_L3_W_GPIO_PIN, 0xFF } },
	[USER_LED_N] = { USER_LED_TYPE_RW, {EXT_LED_N_R_GPIO_PIN, EXT_LED_N_W_GPIO_PIN, 0xFF } },
	[USER_LED_PE] = { USER_LED_TYPE_RGB, {EXT_LED_PE_R_GPIO_PIN, EXT_LED_PE_G_GPIO_PIN, EXT_LED_PE_B_GPIO_PIN } },
	[USER_LED_TEMP] = { USER_LED_TYPE_RGB, {EXT_LED_TEMP_R_GPIO_PIN, EXT_LED_TEMP_G_GPIO_PIN, EXT_LED_TEMP_B_GPIO_PIN } },
};
#endif

struct device *dev = NULL;

static enum user_led_states_e state_private 	= USER_LED_STATE_LEDTEST;
static uint16_t lost_bm_private 		= 0;

static int num_of_leds = 0;

static int heartbeat_blinks = 0;

static void user_led_loop(struct k_work *work);

K_WORK_DEFINE(led_worker, user_led_loop);

void my_timer_handler(struct k_timer *dummy)
{
    k_work_submit(&led_worker);
}

K_TIMER_DEFINE(led_timer, my_timer_handler, NULL);

void user_led_set_color(enum user_led_e led, enum user_led_color_e color)
{
	switch(color)
	{
		case USER_LED_COLOR_NONE:
		{
			gpio_pin_set(dev, leds[led].pins[0], 0);
			gpio_pin_set(dev, leds[led].pins[1], 0);
			if(leds[led].type == USER_LED_TYPE_RGB)
				gpio_pin_set(dev, leds[led].pins[2], 0);
		}
		break;
		case USER_LED_COLOR_RED:
		{
			gpio_pin_set(dev, leds[led].pins[0], 1);
			gpio_pin_set(dev, leds[led].pins[1], 0);
			if(leds[led].type == USER_LED_TYPE_RGB)
				gpio_pin_set(dev, leds[led].pins[2], 0);
		}
		break;
		case USER_LED_COLOR_GREEN:
		{
			gpio_pin_set(dev, leds[led].pins[0], 0);
			gpio_pin_set(dev, leds[led].pins[1], 1);
			if(leds[led].type == USER_LED_TYPE_RGB)
				gpio_pin_set(dev, leds[led].pins[2], 0);
		}
		break;
		case USER_LED_COLOR_BLUE:
		{
			gpio_pin_set(dev, leds[led].pins[0], 0);
			gpio_pin_set(dev, leds[led].pins[1], 0);
			if(leds[led].type == USER_LED_TYPE_RGB)
				gpio_pin_set(dev, leds[led].pins[2], 1);
		}
		break;
		case USER_LED_COLOR_WHITE:
		{
			if(leds[led].type == USER_LED_TYPE_RGB)
			{
				gpio_pin_set(dev, leds[led].pins[0], 1);
				gpio_pin_set(dev, leds[led].pins[1], 1);
				gpio_pin_set(dev, leds[led].pins[2], 1);
			}
			else
			{
				gpio_pin_set(dev, leds[led].pins[0], 0);
				gpio_pin_set(dev, leds[led].pins[1], 1);
			}
		}
		break;
	}
}

void user_led_start_heartbeatblink(int blinknum)
{
	heartbeat_blinks = blinknum;
}

void user_led_set_state(enum user_led_states_e state, uint16_t lost_bitmask)
{
	//don't delete attention state if not end
	if(state_private == USER_LED_STATE_ATTENTION && state != USER_LED_STATE_ALLOFF)
		return;
		
	//printk("New state: %d\n", state);
		
    state_private = state;
    lost_bm_private = lost_bitmask;
}

void user_led_loop(struct k_work *work)
{
	static uint32_t                 stop_time = 0;
	static uint8_t					inital_time = 0;
	static uint32_t                 timer = 0;
	static uint8_t                  state_switcher = 0;
	static char                     old_rot_dir = 0;
	static enum user_led_states_e   old_state = USER_LED_STATE_BOOT;

	//critical section enter
	//int key = irq_lock(); //sometimes we stuck here ???
	volatile enum user_led_states_e state = state_private;
	volatile uint16_t lost_bitmask = lost_bm_private;
	//critical section exit
	//irq_unlock(key);

	char rot_dir = 0;

	timer++;

	if(state != old_state)
	{
		for(int i = 0; i < USER_LED_NUM_OF; i++)
		{
			user_led_set_color(i, USER_LED_COLOR_NONE);
		}

		old_state = state;
	}

	switch(state)
	{
		case USER_LED_STATE_ALLON:
		{
			for(int i = 0; i < USER_LED_NUM_OF; i++)
			{
				user_led_set_color(i, USER_LED_COLOR_WHITE);
			}
		}
		break;
		case USER_LED_STATE_ALLOFF:
		{
			for(int i = 0; i < USER_LED_NUM_OF; i++)
			{
				user_led_set_color(i, USER_LED_COLOR_NONE);
			}
		}
		break;
		case USER_LED_STATE_ATTENTION:
		{
			///blink all leds
			if(state_switcher)
			{
				for(int i = 0; i < USER_LED_NUM_OF; i++)
				{
					user_led_set_color(i, USER_LED_COLOR_WHITE);
				}
				state_switcher = 0;
			}
			else
			{
				for(int i = 0; i < USER_LED_NUM_OF; i++)
				{
					user_led_set_color(i, USER_LED_COLOR_NONE);
				}
				state_switcher = 1;
			}
		}
		break;
		case USER_LED_STATE_LOST:
		{
			old_rot_dir = 0;
			//each second
			if( (timer - stop_time) < 10)
				break;

			stop_time = timer;

			if(state_switcher)
			{
				///blink red
				for(int i = 0; i < USER_LED_NUM_OF; i++)
				{
					if(i != USER_LED_TEMP || heartbeat_blinks == 0)
					{
						if( lost_bitmask & ((1UL << i) | (1UL << (i + 8))) )
							user_led_set_color(i, USER_LED_COLOR_RED);
						else
							user_led_set_color(i, USER_LED_COLOR_NONE);
					}
				}

				//toggle
				state_switcher = 0;
			}
			else
			{
				//blink white
				for(int i = 0; i < USER_LED_TEMP; i++)
				{
					if(lost_bitmask & (1UL << i))
						user_led_set_color(i, USER_LED_COLOR_NONE);
					else
						user_led_set_color(i, USER_LED_COLOR_WHITE);
				}
				
				if(heartbeat_blinks == 0)
				{
					//green for temperature led
					if(lost_bitmask & (1UL << USER_LED_TEMP))
						user_led_set_color(USER_LED_TEMP, USER_LED_COLOR_NONE);
					else
						user_led_set_color(USER_LED_TEMP, USER_LED_COLOR_GREEN);
				}

				//toggle
				state_switcher = 1;
			}
		}
		break;
		case USER_LED_STATE_ROT_R:
		{
			rot_dir = 'R';

			if(old_rot_dir != rot_dir)
			{
				state_switcher = 0;
				old_rot_dir = rot_dir;
			}
		}
		break;
		case USER_LED_STATE_ROT_L:
		{
			rot_dir = 'L';

			//set new state
			if(old_rot_dir != rot_dir)
			{
				state_switcher = 0;
				old_rot_dir = rot_dir;
			}
		}
		break;
		case USER_LED_STATE_LEDTEST:
		{
			if(state_switcher >= num_of_leds * 2)
			{
				state_private = USER_LED_STATE_BOOT;
				state_switcher = 0;
				break;
			}
			
			int led_index = state_switcher / 2;
			int cnt = 0;
			
			for(int i = 0; i < USER_LED_NUM_OF; i++)
			{
				for(int pin_index = 0; pin_index < 3; pin_index++)
				{
					if(leds[i].pins[pin_index] != 0xFF)
					{
						if(cnt == led_index)
						{
							if(state_switcher % 2 == 0)
								gpio_pin_set(dev, leds[i].pins[pin_index], 1);
							else
								gpio_pin_set(dev, leds[i].pins[pin_index], 0);
						}
						cnt++;
					}
				}
			}
			
			state_switcher++;
		}
		break;
		case USER_LED_STATE_BOOT:
		{
			//nothing to do
			state_switcher = 0;
		}
		break;
	}

	if(old_rot_dir == 'R' || old_rot_dir == 'L')
	{
		//each 300 ms
		if( (timer - stop_time) < 3)
			return;
		stop_time = timer;

		int led_index = (old_rot_dir == 'R') ? state_switcher : (2 - state_switcher);

		for(int i = 0; i < 3; i++)
		{
			if(i != led_index)
				user_led_set_color(i, USER_LED_COLOR_NONE);
			else
				user_led_set_color(i, USER_LED_COLOR_WHITE);
		}

		//set N, PE, Temp
		user_led_set_color(USER_LED_PE, USER_LED_COLOR_WHITE);
		if(heartbeat_blinks == 0)
			user_led_set_color(USER_LED_TEMP, USER_LED_COLOR_GREEN);
		user_led_set_color(USER_LED_N, USER_LED_COLOR_WHITE);

		state_switcher++;
		if(state_switcher >= 4)
			state_switcher = 0;
	}

	if(heartbeat_blinks > 0)
	{
		//avoid first very short time step
		if(!inital_time)
		{
			user_led_set_color(USER_LED_TEMP, USER_LED_COLOR_NONE);
			inital_time = 1;
		}
		else
		{
			if(timer % 2 == 0)
			{
				user_led_set_color(USER_LED_TEMP, USER_LED_COLOR_BLUE);
			}
			else
			{
				user_led_set_color(USER_LED_TEMP, USER_LED_COLOR_NONE);
				heartbeat_blinks--;
			}
		}

		if(heartbeat_blinks == 0)
			inital_time = 0;
	}
}

void user_led_init(void)
{
	dev = device_get_binding(DT_LABEL(DT_NODELABEL(gpio0)));
	if (dev == NULL) {
		printk("GPIO device not found\r\n");
		return;
	}
	
	num_of_leds = 0;

	for(int i = 0; i < USER_LED_NUM_OF; i++)
	{
		for(int pin_index = 0; pin_index < 3; pin_index++)
		{
			if(leds[i].pins[pin_index] == 0xFF)
				continue;
				
			num_of_leds++;
				
			int ret = gpio_pin_configure(dev, leds[i].pins[pin_index], GPIO_OUTPUT_ACTIVE | GPIO_ACTIVE_LOW);
			if (ret < 0) {
				printk("GPIO config failed\r\n");
				return;
			}
			
			gpio_pin_set(dev, leds[i].pins[pin_index], 0);
		}

		//gpio_pin_set(dev, user_led_pins[i], 1);
		//k_msleep(100);
		//gpio_pin_set(dev, user_led_pins[i], 0);
	}

	/* start periodic timer that expires once every 100 ms */
	k_timer_start(&led_timer, K_MSEC(100), K_MSEC(100));
}
```

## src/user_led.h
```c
#ifndef USER_LED_H_
#define USER_LED_H_

#include <stdint.h>

enum user_led_e
{
	USER_LED_L1 = 0,
	USER_LED_L2 = 1,
	USER_LED_L3 = 2,
	USER_LED_N = 3,
	USER_LED_PE = 4,
	USER_LED_TEMP = 5,
	USER_LED_NUM_OF,
};

enum user_led_type_e
{
	USER_LED_TYPE_RGB = 0, //RGB
	USER_LED_TYPE_RW, //red, white
};

enum user_led_color_e
{
	USER_LED_COLOR_NONE = 0,
	USER_LED_COLOR_RED,
	USER_LED_COLOR_GREEN,
	USER_LED_COLOR_BLUE,
	USER_LED_COLOR_WHITE,
};

enum user_led_states_e
{
	USER_LED_STATE_BOOT = 0,
	USER_LED_STATE_ROT_R,
	USER_LED_STATE_ROT_L,
	USER_LED_STATE_LOST,
	USER_LED_STATE_ATTENTION,
	USER_LED_STATE_ALLOFF,
	USER_LED_STATE_ALLON,
	USER_LED_STATE_LEDTEST,
};

enum
{
	USER_LED_LOST_L1_BITPOS    	= USER_LED_L1,
	USER_LED_LOST_L2_BITPOS    	= USER_LED_L2,
	USER_LED_LOST_L3_BITPOS    	= USER_LED_L3,
	USER_LED_LOST_N_BITPOS     	= USER_LED_N,
	USER_LED_LOST_PE_BITPOS    	= USER_LED_PE,
	USER_LED_LOST_TEMP_BITPOS 	= USER_LED_TEMP,
	USER_LED_UNKNOWN_L1_BITPOS 	= (USER_LED_L1 + 8),
	USER_LED_UNKNOWN_L2_BITPOS 	= (USER_LED_L2 + 8),
	USER_LED_UNKNOWN_L3_BITPOS 	= (USER_LED_L3 + 8),
	USER_LED_UNKNOWN_N_BITPOS  	= (USER_LED_N + 8),
	USER_LED_DIR_R_BITPOS		= (USER_LED_N + 1 + 8),
	USER_LED_DIR_L_BITPOS		= (USER_LED_N + 2 + 8),
};

enum
{
	USER_LED_LOST_NONE      = 0x0000,
	USER_LED_LOST_L1_BIT    = (1UL << USER_LED_LOST_L1_BITPOS),
	USER_LED_LOST_L2_BIT    = (1UL << USER_LED_LOST_L2_BITPOS),
	USER_LED_LOST_L3_BIT    = (1UL << USER_LED_LOST_L3_BITPOS),
	USER_LED_LOST_N_BIT     = (1UL << USER_LED_LOST_N_BITPOS),
	USER_LED_LOST_PE_BIT    = (1UL << USER_LED_LOST_PE_BITPOS),
	USER_LED_LOST_TEMP_BIT  = (1UL << USER_LED_LOST_TEMP_BITPOS),
	USER_LED_UNKNOWN_L1_BIT = (1UL << USER_LED_UNKNOWN_L1_BITPOS),
	USER_LED_UNKNOWN_L2_BIT = (1UL << USER_LED_UNKNOWN_L2_BITPOS),
	USER_LED_UNKNOWN_L3_BIT = (1UL << USER_LED_UNKNOWN_L3_BITPOS),
	USER_LED_UNKNOWN_N_BIT  = (1UL << USER_LED_UNKNOWN_N_BITPOS),
	USER_LED_DIR_R_BIT		= (1UL << USER_LED_DIR_R_BITPOS),
	USER_LED_DIR_L_BIT		= (1UL << USER_LED_DIR_L_BITPOS),
};

void user_led_init(void);
void user_led_start_heartbeatblink(int blinknum);
void user_led_set_state(enum user_led_states_e state, uint16_t lost_bitmask);
void user_led_set_color(enum user_led_e led, enum user_led_color_e color);

#endif /* USER_LED_H_ */
```
